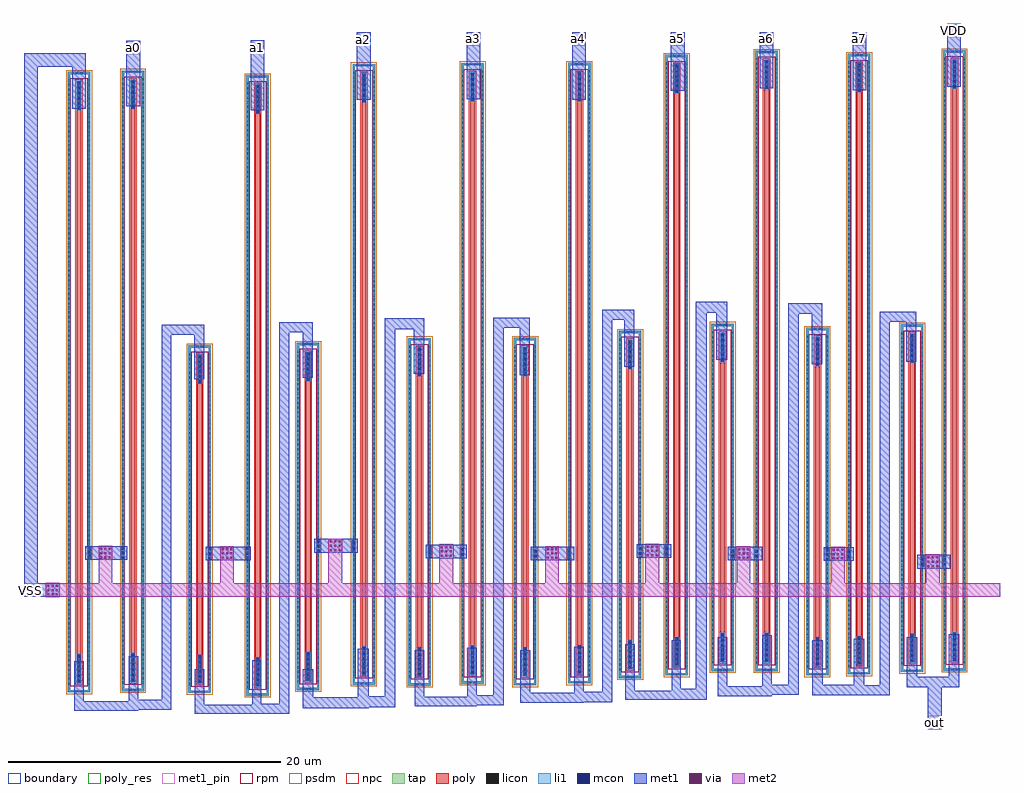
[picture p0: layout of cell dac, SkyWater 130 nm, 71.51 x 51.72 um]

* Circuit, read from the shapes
.subckt dac VDD VSS a0 a1 a2 a3 a4 a5 a6 a7 out
XR1 VSS n1 VSS sky130_fd_pr__res_high_po w=0.35 l=39.88
XR2 a0 n1 VSS sky130_fd_pr__res_high_po w=0.35 l=39.88
XR3 n1 n2 VSS sky130_fd_pr__res_high_po w=0.35 l=19.88
XR4 a1 n2 VSS sky130_fd_pr__res_high_po w=0.35 l=39.88
XR5 n2 n3 VSS sky130_fd_pr__res_high_po w=0.35 l=19.88
XR6 a2 n3 VSS sky130_fd_pr__res_high_po w=0.35 l=39.88
XR7 n3 n4 VSS sky130_fd_pr__res_high_po w=0.35 l=19.88
XR8 a3 n4 VSS sky130_fd_pr__res_high_po w=0.35 l=39.88
XR9 n4 n5 VSS sky130_fd_pr__res_high_po w=0.35 l=19.88
XR10 a4 n5 VSS sky130_fd_pr__res_high_po w=0.35 l=39.88
XR11 n5 n6 VSS sky130_fd_pr__res_high_po w=0.35 l=19.88
XR12 a5 n6 VSS sky130_fd_pr__res_high_po w=0.35 l=39.88
XR13 n6 n7 VSS sky130_fd_pr__res_high_po w=0.35 l=19.88
XR14 a6 n7 VSS sky130_fd_pr__res_high_po w=0.35 l=39.88
XR15 n7 n8 VSS sky130_fd_pr__res_high_po w=0.35 l=19.88
XR16 a7 n8 VSS sky130_fd_pr__res_high_po w=0.35 l=39.88
XR17 n8 out VSS sky130_fd_pr__res_high_po w=0.35 l=19.88
XR18 VDD out VSS sky130_fd_pr__res_high_po w=0.35 l=39.88
.ends

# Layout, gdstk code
import gdstk
lib = gdstk.Library(unit=1e-6, precision=1e-09)
def R(c, l, rs):  # rectangles x0, y0, x1, y1
    for r in rs: c.add(gdstk.rectangle(r[:2], r[2:], *l))
def A(c, l, x, y, w, h, nx, ny, dx, dy):  # array of equal rectangles
    R(c, l, [(x+i*dx, y+j*dy, x+i*dx+w, y+j*dy+h) for i in range(nx) for j in range(ny)])
tap = (65, 44)
poly_res = (66, 13)
poly = (66, 20)
licon = (66, 44)
li1 = (67, 20)
mcon = (67, 44)
met1_pin = (68, 16)
met1 = (68, 20)
via = (68, 44)
met2 = (69, 20)
rpm = (86, 20)
psdm = (94, 20)
npc = (95, 20)
boundary = (235, 4)

sky130_fd_pr__res_high_p = lib.new_cell('sky130_fd_pr__res_high_po_0p35_QPS5FG')
R(sky130_fd_pr__res_high_p, tap, [(-0.825,-12.73,0.825,-12.56), (-0.825,-12.56,-0.655,12.56), (0.655,-12.56,0.825,12.56), (-0.825,12.56,0.825,12.73)])
R(sky130_fd_pr__res_high_p, poly_res, [(-0.175,-10,0.175,10)])
R(sky130_fd_pr__res_high_p, poly, [(-0.175,-12.08,0.175,12.08)])
A(sky130_fd_pr__res_high_p, licon, -0.825, -12.155, 0.17, 0.17, 1, 72, 0, 0.34)
A(sky130_fd_pr__res_high_p, licon, 0.655, -12.155, 0.17, 0.17, 1, 72, 0, 0.34)
R(sky130_fd_pr__res_high_p, licon, [(-0.255,-12.73,-0.085,-12.56), (0.085,-12.73,0.255,-12.56), (-0.095,-12,0.095,-10), (-0.095,10,0.095,12), (-0.255,12.56,-0.085,12.73), (0.085,12.56,0.255,12.73)])
R(sky130_fd_pr__res_high_p, li1, [(-0.825,-12.73,0.825,-12.56), (-0.825,-12.56,-0.655,12.56), (0.655,-12.56,0.825,12.56), (-0.175,-12.08,0.175,-9.92), (-0.175,9.92,0.175,12.08), (-0.825,12.56,0.825,12.73)])
A(sky130_fd_pr__res_high_p, mcon, -0.085, -11.985, 0.17, 0.17, 1, 6, 0, 0.36)
A(sky130_fd_pr__res_high_p, mcon, -0.085, 10.01, 0.17, 0.17, 1, 6, 0, 0.36)
R(sky130_fd_pr__res_high_p, met1, [(-0.125,-12.05,0.125,-9.945), (-0.125,9.945,0.125,12.05)])
R(sky130_fd_pr__res_high_p, rpm, [(-0.635,-12.28,0.635,12.28)])
R(sky130_fd_pr__res_high_p, psdm, [(-0.95,-12.855,0.95,12.855)])
R(sky130_fd_pr__res_high_p, npc, [(-0.27,-12.175,0.27,12.175)])
R(sky130_fd_pr__res_high_p, boundary, [(-0.74,-12.645,0.74,12.645)])

c_sky130_fd_pr__res_high_p = lib.new_cell('sky130_fd_pr__res_high_po_0p35_3KK54B')
R(c_sky130_fd_pr__res_high_p, tap, [(-0.825,-22.73,0.825,-22.56), (-0.825,-22.56,-0.655,22.56), (0.655,-22.56,0.825,22.56), (-0.825,22.56,0.825,22.73)])
R(c_sky130_fd_pr__res_high_p, poly_res, [(-0.175,-20,0.175,20)])
R(c_sky130_fd_pr__res_high_p, poly, [(-0.175,-22.08,0.175,22.08)])
A(c_sky130_fd_pr__res_high_p, licon, -0.825, -22.185, 0.17, 0.17, 1, 131, 0, 0.34)
A(c_sky130_fd_pr__res_high_p, licon, 0.655, -22.185, 0.17, 0.17, 1, 131, 0, 0.34)
R(c_sky130_fd_pr__res_high_p, licon, [(-0.255,-22.73,-0.085,-22.56), (0.085,-22.73,0.255,-22.56), (-0.095,-22,0.095,-20), (-0.095,20,0.095,22), (-0.255,22.56,-0.085,22.73), (0.085,22.56,0.255,22.73)])
R(c_sky130_fd_pr__res_high_p, li1, [(-0.825,-22.73,0.825,-22.56), (-0.825,-22.56,-0.655,22.56), (0.655,-22.56,0.825,22.56), (-0.175,-22.08,0.175,-19.92), (-0.175,19.92,0.175,22.08), (-0.825,22.56,0.825,22.73)])
A(c_sky130_fd_pr__res_high_p, mcon, -0.085, -21.985, 0.17, 0.17, 1, 6, 0, 0.36)
A(c_sky130_fd_pr__res_high_p, mcon, -0.085, 20.01, 0.17, 0.17, 1, 6, 0, 0.36)
R(c_sky130_fd_pr__res_high_p, met1, [(-0.125,-22.05,0.125,-19.945), (-0.125,19.945,0.125,22.05)])
R(c_sky130_fd_pr__res_high_p, rpm, [(-0.635,-22.28,0.635,22.28)])
R(c_sky130_fd_pr__res_high_p, psdm, [(-0.95,-22.855,0.95,22.855)])
R(c_sky130_fd_pr__res_high_p, npc, [(-0.27,-22.175,0.27,22.175)])
R(c_sky130_fd_pr__res_high_p, boundary, [(-0.74,-22.645,0.74,22.645)])

dac = lib.new_cell('dac')
R(dac, li1, [(31.08,4.51,31.37,5.36), (32.71,4.53,33,5.33), (24.13,5.03,24.4,5.92), (25.71,5.06,26.01,5.91), (-21.1,5.07,-20.85,5.99), (17.16,5.08,17.48,5.92), (-18.33,5.09,-18.09,5.98), (5.21,5.09,5.52,5.93), (-29.95,5.1,-29.66,5.98), (-27.49,5.1,-27.19,5.99), (2.7,5.1,3.06,5.91), (18.9,5.1,19.26,5.89), (-2.6,5.24,-2.33,6.04), (-4.99,5.27,-4.73,6.09), (10.4,5.28,10.71,6.11), (12.34,5.3,12.66,6.11), (-13.18,5.64,-12.86,6.53), (-10.58,5.66,-10.28,6.51)])
A(dac, mcon, 24.18, 5.03, 0.17, 0.17, 1, 3, 0, 0.36)
A(dac, mcon, -21.06, 5.085, 0.17, 0.17, 1, 3, 0, 0.36)
A(dac, mcon, -18.295, 5.09, 0.17, 0.17, 1, 3, 0, 0.36)
A(dac, mcon, -27.425, 5.1, 0.17, 0.17, 1, 3, 0, 0.36)
A(dac, mcon, -13.105, 5.64, 0.17, 0.17, 1, 3, 0, 0.36)
R(dac, mcon, [(32.77,4.665,32.94,4.835), (31.14,4.67,31.31,4.84), (32.77,5.025,32.94,5.195), (31.14,5.03,31.31,5.2), (25.775,5.22,25.945,5.39), (18.995,5.23,19.165,5.4), (17.235,5.235,17.405,5.405), (2.795,5.24,2.965,5.41), (5.28,5.245,5.45,5.415), (-29.89,5.275,-29.72,5.445), (-2.55,5.375,-2.38,5.545), (-4.945,5.415,-4.775,5.585), (10.47,5.43,10.64,5.6), (12.415,5.44,12.585,5.61), (25.775,5.58,25.945,5.75), (18.995,5.59,19.165,5.76), (17.235,5.595,17.405,5.765), (2.795,5.6,2.965,5.77), (5.28,5.605,5.45,5.775), (-29.89,5.635,-29.72,5.805), (-2.55,5.735,-2.38,5.905), (-4.945,5.775,-4.775,5.945), (10.47,5.79,10.64,5.96), (12.415,5.8,12.585,5.97), (-10.515,5.82,-10.345,5.99), (-10.515,6.18,-10.345,6.35)])
R(dac, met1_pin, [(31.64,-7.36,32.64,-6.36), (-34.59,2.35,-33.59,3.35), (-27.08,42.1,-26.08,43.1), (-17.99,42.13,-16.99,43.13), (-10.2,42.72,-9.2,43.72), (-2.15,42.73,-1.15,43.73), (5.57,42.73,6.57,43.73), (12.81,42.74,13.81,43.74), (19.32,42.74,20.32,43.74), (26.13,42.74,27.13,43.74), (33.04,43.36,34.04,44.36)])
R(dac, met1, [(31.64,-7.36,32.64,-4.27), (-22.065,-6.205,-17.19,-6.2), (-22.065,-6.2,-15.16,-5.535), (-30.92,-6,-26.23,-5.92), (-30.92,-5.92,-23.79,-5.3), (-14.18,-5.8,-9.32,-5.72), (-14.18,-5.72,-7.39,-5), (-5.955,-5.655,-1.41,-5.595), (-5.955,-5.595,0.545,-4.965), (-22.065,-5.535,-21.395,-2.945), (-17.86,-5.535,-15.16,-5.48), (-17.86,-5.48,-17.19,-2.3), (-15.88,-5.48,-15.16,21.75), (1.765,-5.405,6.44,-5.35), (1.765,-5.35,8.51,-4.675), (-30.92,-5.3,-30.22,-2.38), (-26.93,-5.3,-23.79,-5.2), (-26.93,-5.2,-26.23,-2), (-24.51,-5.2,-23.79,21.56), (9.48,-5.2,13.54,-5.19), (9.48,-5.19,15.43,-4.52), (-14.18,-5,-13.38,-2.96), (-10.12,-5,-7.39,-4.94), (-5.955,-4.965,-5.265,-1.575), (-2.1,-4.965,0.545,-4.845), (-10.12,-4.94,-9.32,-1.46), (-8.17,-4.94,-7.39,21.98), (16.235,-4.915,20.21,-4.835), (26.26,-4.86,28.85,-4.845), (-2.1,-4.845,-1.41,-1.36), (-0.205,-4.845,0.545,22.065), (23.165,-4.845,28.85,-4.12), (16.235,-4.835,22.165,-4.205), (1.765,-4.675,2.495,-1.575), (5.71,-4.675,8.51,-4.61), (5.71,-4.61,6.44,-1.3), (7.77,-4.61,8.51,22.66), (9.48,-4.52,10.16,-1.1), (12.86,-4.52,15.43,-4.37), (12.86,-4.37,13.54,-0.81), (14.61,-4.37,15.43,23.16), (30.08,-4.27,33.94,-3.49), (16.235,-4.205,16.945,-0.605), (19.5,-4.205,22.165,-4.085), (23.165,-4.12,26.99,-4.075), (28.11,-4.12,28.85,22.52), (19.5,-4.085,20.21,-0.44), (21.415,-4.085,22.165,23.115), (23.165,-4.075,23.935,-0.815), (26.22,-4.075,26.99,-0.73), (30.08,-3.49,30.86,-0.59), (33.16,-3.49,33.94,-0.4), (-34.59,2.35,-31.97,3.35), (-34.59,3.35,-33.59,41.18), (30.86,4.43,33.27,5.43), (24,4.99,26.22,5.99), (16.98,5.03,19.49,6.03), (-21.26,5.04,-17.96,6.04), (2.55,5.04,5.72,6.04), (-30.11,5.06,-27.04,6.06), (-4.15,5.15,-3.15,5.18), (-5.17,5.18,-2.15,6.18), (10.29,5.22,12.85,6.22), (-13.32,5.6,-10.12,6.6), (-4.15,6.18,-3.15,6.21), (-22.12,18.3,-21.4,21.56), (-14.16,18.4,-13.44,21.75), (1.72,18.6,2.47,22.065), (-6.05,18.7,-5.27,21.98), (9.39,19.22,10.13,22.66), (23.14,19.4,23.89,23.115), (30.06,19.59,30.8,22.52), (16.13,19.74,16.95,23.16), (-24.51,21.56,-21.4,22.28), (-15.88,21.75,-13.44,22.47), (-8.17,21.98,-5.27,22.76), (-0.205,22.065,2.47,22.815), (28.11,22.52,30.8,23.26), (7.77,22.66,10.13,23.4), (21.415,23.115,23.89,23.865), (14.61,23.16,16.95,23.98), (-17.99,38.01,-16.99,43.13), (-31.05,38.12,-30.05,41.18), (-27.08,38.3,-26.08,43.1), (-10.2,38.77,-9.2,43.72), (5.57,38.78,6.57,43.73), (-2.15,38.83,-1.15,43.73), (12.81,39.45,13.81,43.74), (26.13,39.49,27.13,43.74), (19.32,39.63,20.32,43.74), (33.04,39.74,34.04,44.36), (-34.59,41.18,-30.05,42.18)])
A(dac, via, -32.895, 2.455, 0.15, 0.15, 3, 3, 0.32, 0.32)
A(dac, via, 31.595, 4.535, 0.15, 0.15, 3, 3, 0.32, 0.32)
A(dac, via, 24.645, 5.095, 0.15, 0.15, 3, 3, 0.32, 0.32)
A(dac, via, 17.735, 5.135, 0.15, 0.15, 3, 3, 0.32, 0.32)
A(dac, via, -20.105, 5.145, 0.15, 0.15, 3, 3, 0.32, 0.32)
A(dac, via, 3.705, 5.145, 0.15, 0.15, 3, 3, 0.32, 0.32)
A(dac, via, -29.025, 5.165, 0.15, 0.15, 3, 3, 0.32, 0.32)
A(dac, via, -4.045, 5.285, 0.15, 0.15, 3, 3, 0.32, 0.32)
A(dac, via, 11.045, 5.325, 0.15, 0.15, 3, 3, 0.32, 0.32)
A(dac, via, -12.185, 5.705, 0.15, 0.15, 3, 3, 0.32, 0.32)
R(dac, met2, [(-33,2.32,-32,2.35), (-33,2.35,36.92,3.35), (-33,3.35,-32,3.38), (-29.13,3.35,-28.13,6.09), (-20.21,3.35,-19.21,6.07), (-12.29,3.35,-11.29,6.63), (-4.15,3.35,-3.15,5.18), (3.6,3.35,4.6,6.07), (10.94,3.35,11.94,6.25), (17.63,3.35,18.63,6.06), (24.54,3.35,25.54,6.02), (31.49,3.35,32.49,5.46), (-4.18,5.18,-3.12,6.18)])
dac.add(gdstk.Reference(sky130_fd_pr__res_high_p, (23.545,9.33)))
dac.add(gdstk.Reference(c_sky130_fd_pr__res_high_p, (26.605,19.4)))
dac.add(gdstk.Reference(sky130_fd_pr__res_high_p, (30.485,9.59)))
dac.add(gdstk.Reference(c_sky130_fd_pr__res_high_p, (33.585,19.67)))
dac.add(gdstk.Reference(sky130_fd_pr__res_high_p, (16.595,9.64)))
dac.add(gdstk.Reference(c_sky130_fd_pr__res_high_p, (19.825,19.64)))
dac.add(gdstk.Reference(sky130_fd_pr__res_high_p, (9.815,9.12)))
dac.add(gdstk.Reference(c_sky130_fd_pr__res_high_p, (13.235,19.33)))
dac.add(gdstk.Reference(sky130_fd_pr__res_high_p, (2.125,8.6)))
dac.add(gdstk.Reference(c_sky130_fd_pr__res_high_p, (6.105,18.74)))
dac.add(gdstk.Reference(sky130_fd_pr__res_high_p, (-5.605,8.59)))
dac.add(gdstk.Reference(c_sky130_fd_pr__res_high_p, (-1.725,18.73)))
dac.add(gdstk.Reference(sky130_fd_pr__res_high_p, (-13.765,8.24)))
dac.add(gdstk.Reference(c_sky130_fd_pr__res_high_p, (-9.685,18.66)))
dac.add(gdstk.Reference(sky130_fd_pr__res_high_p, (-21.715,8.05)))
dac.add(gdstk.Reference(c_sky130_fd_pr__res_high_p, (-30.555,18.09)))
dac.add(gdstk.Reference(c_sky130_fd_pr__res_high_p, (-17.465,17.84)))
dac.add(gdstk.Reference(c_sky130_fd_pr__res_high_p, (-26.605,18.18)))
dac.add(gdstk.Label('VDD', (33.54,43.86), layer=68, texttype=5))
dac.add(gdstk.Label('VSS', (-34.09,2.85), layer=68, texttype=5))
dac.add(gdstk.Label('a1', (-17.49,42.63), layer=68, texttype=5))
dac.add(gdstk.Label('a3', (-1.65,43.23), layer=68, texttype=5))
dac.add(gdstk.Label('a4', (6.07,43.23), layer=68, texttype=5))
dac.add(gdstk.Label('a5', (13.31,43.24), layer=68, texttype=5))
dac.add(gdstk.Label('a6', (19.82,43.24), layer=68, texttype=5))
dac.add(gdstk.Label('a2', (-9.7,43.22), layer=68, texttype=5))
dac.add(gdstk.Label('a7', (26.63,43.24), layer=68, texttype=5))
dac.add(gdstk.Label('a0', (-26.58,42.6), layer=68, texttype=5))
dac.add(gdstk.Label('out', (32.14,-6.86), layer=68, texttype=5))

lib.write_gds('dac.gds')
